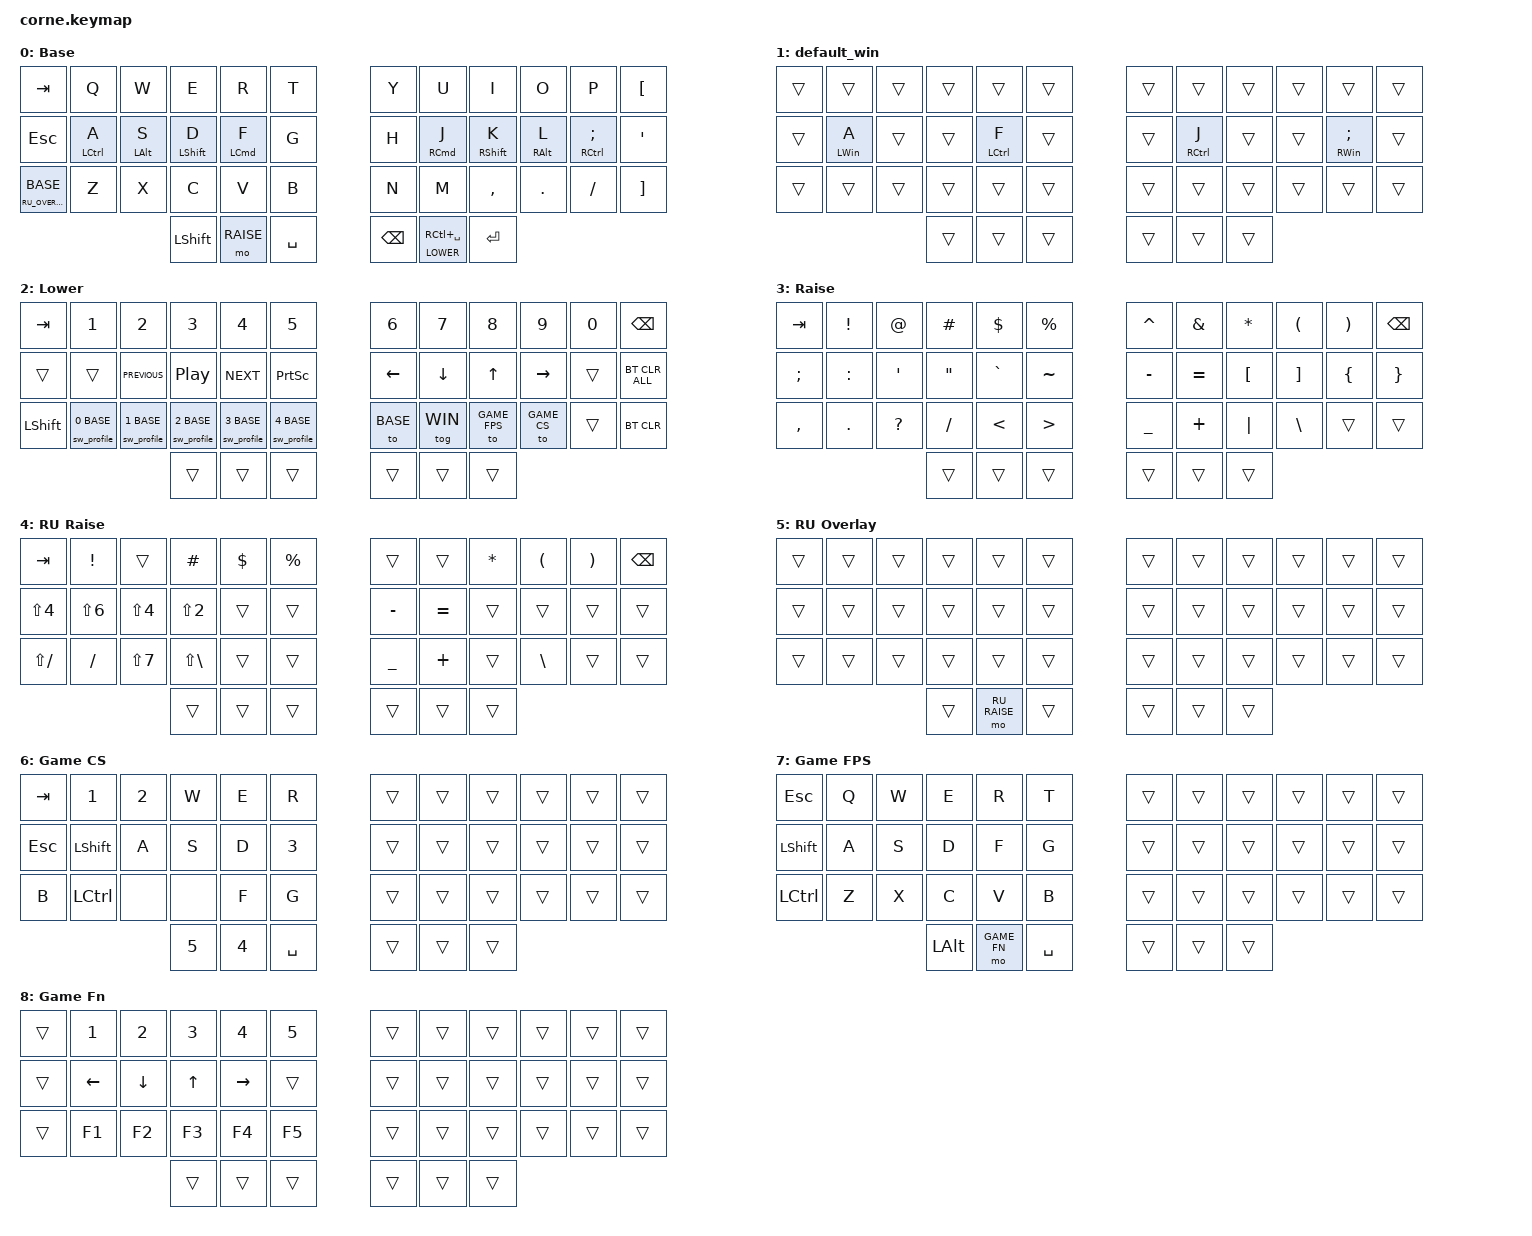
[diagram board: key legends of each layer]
/*
 * Copyright (c) 2020 The ZMK Contributors
 *
 * SPDX-License-Identifier: MIT
 */

#include <behaviors.dtsi>
#include <dt-bindings/zmk/bt.h>
#include <dt-bindings/zmk/keys.h>

#define BASE       0
#define WIN        1
#define LOWER      2
#define RAISE      3
#define RU_RAISE   4
#define RU_OVERLAY 5
#define GAME_CS    6
#define GAME_FPS   7
#define GAME_FN    8

/ {
    combos {
        compatible = "zmk,combos";

        game_exit {
            timeout-ms = <150>;
            key-positions = <36 37>;
            layers = <GAME_CS GAME_FPS GAME_FN>;
            bindings = <&to BASE>;
        };
    };

    behaviors {
        hml: hml {
            compatible = "zmk,behavior-hold-tap";
            bindings = <&kp>, <&kp>;

            #binding-cells = <2>;
            tapping-term-ms = <190>;
            require-prior-idle-ms = <155>;
            quick-tap-ms = <200>;
            flavor = "balanced";
            hold-trigger-key-positions = <30 31 32 33 34 35 6 7 8 9 10 11 18 19 20 21 22 23 39 40 41>;
            hold-trigger-on-release;
        };

        hmr: hmr {
            compatible = "zmk,behavior-hold-tap";
            bindings = <&kp>, <&kp>;

            #binding-cells = <2>;
            tapping-term-ms = <190>;
            require-prior-idle-ms = <155>;
            quick-tap-ms = <200>;
            flavor = "balanced";
            hold-trigger-key-positions = <0 1 2 3 4 5 12 13 14 15 16 17 24 25 26 27 28 29 36 37 38>;
            hold-trigger-on-release;
        };

        /* Language-switch key:
         * Tap  – executes the macro above (host layout change + overlay toggle);
         * Hold – only toggles the overlay layer (to resync if needed). */

        lang_sw: lang_sw {
            compatible = "zmk,behavior-hold-tap";
            #binding-cells = <2>;
            flavor = "hold-preferred";
            tapping-term-ms = <200>;
            bindings = <&tog>, <&lang_switch>;
        };

        toggle_on: toggle_on {
            compatible = "zmk,behavior-toggle-layer";
            #binding-cells = <1>;
        };
    };

    macros {
        lang_switch: lang_switch_win {
            compatible = "zmk,behavior-macro";
            #binding-cells = <0>;
            bindings = <&kp LA(LEFT_SHIFT) &tog RU_OVERLAY>;
        };

        sw_profile: sw_profile {
            compatible = "zmk,behavior-macro-two-param";
            #binding-cells = <2>;
            bindings =
                <&macro_param_1to2 &bt BT_SEL MACRO_PLACEHOLDER &macro_param_2to1 &to MACRO_PLACEHOLDER>,
                <&macro_press>;
        };

        // OV_TOG macro no longer required; hold action handles overlay toggle.
    };

    keymap {
        compatible = "zmk,keymap";

        default_layer {
            // -----------------------------------------------------------------------------------------
            // |  TAB |  Q  |  W  |  E  |  R  |  T  |   |  Y  |  U  |  I  |  O  |  P  | LBKT |
            // |  ESC |  A  |  S  |  D  |  F  |  G  |   |  H  |  J  |  K  |  L  |  ;  |  '   |
            // | SHFT |  Z  |  X  |  C  |  V  |  B  |   |  N  |  M  |  ,  |  .  |  /  | RBKT |
            //                     | GUI | LWR | SPC |   | BSPC | RSE | ENT |

            display-name = "Base";
            bindings = <
&kp TAB       &kp Q                &kp W            &kp E              &kp R                &kp T        &kp Y          &kp U                 &kp I               &kp O             &kp P                    &kp LBKT
&kp ESCAPE    &hml LEFT_CONTROL A  &hml LEFT_ALT S  &hml LEFT_SHIFT D  &hml LEFT_COMMAND F  &kp G        &kp H          &hmr RIGHT_COMMAND J  &hmr RIGHT_SHIFT K  &hmr RIGHT_ALT L  &hmr RIGHT_CONTROL SEMI  &kp SQT
&lang_sw RU_OVERLAY BASE  &kp Z                &kp X            &kp C              &kp V                &kp B        &kp N          &kp M                 &kp COMMA           &kp DOT           &kp FSLH                 &kp RBKT
                                                    &kp LSHFT          &mo RAISE                &kp SPACE    &kp BACKSPACE  &lt LOWER RC(SPACE)       &kp ENTER
            >;
        };

        default_win {
            bindings = <
&trans  &trans           &trans  &trans  &trans        &trans    &trans  &trans        &trans  &trans  &trans                    &trans
&trans  &hml LEFT_WIN A  &trans  &trans  &hml LCTRL F  &trans    &trans  &hmr RCTRL J  &trans  &trans  &hmr RIGHT_WIN SEMICOLON  &trans
&trans  &trans           &trans  &trans  &trans        &trans    &trans  &trans        &trans  &trans  &trans                    &trans
                                 &trans  &trans        &trans    &trans  &trans        &trans
            >;
        };

        lower_layer {
            // -----------------------------------------------------------------------------------------
            // |  TAB |  1  |  2    |  3   |  4   |  5   |   |  6   |  7   |  8   |  9   |  0   | BSPC  |
            // | TRNS | TRNS | PREV | PLAY | NEXT | PSCR |   | LFT  | DWN  |  UP  | RGT  | TRNS | TRNS  |
            // | SHFT | BT1  | BT2  | BT3  | BT4  | BT5  |   | BASE | WIN  | FPS  | CS   | TRNS | BTCLR |
            //                      | TRNS | TRNS | TRNS |   | TRNS | TRNS | TRNS |

            display-name = "Lower";
            bindings = <
&kp TAB    &kp N1           &kp N2           &kp N3            &kp N4           &kp N5             &kp N6    &kp N7    &kp N8  &kp N9     &kp N0  &kp BSPC
&trans     &trans           &kp C_PREVIOUS   &kp C_PLAY_PAUSE  &kp C_NEXT       &kp PRINTSCREEN    &kp LEFT  &kp DOWN  &kp UP  &kp RIGHT  &trans  &bt BT_CLR_ALL
&kp LSHFT  &sw_profile 0 BASE  &sw_profile 1 BASE  &sw_profile 2 BASE   &sw_profile 3 BASE  &sw_profile 4 BASE    &to BASE    &tog WIN    &to GAME_FPS  &to GAME_CS  &trans  &bt BT_CLR
                                             &trans            &trans           &trans             &trans    &trans    &trans
            >;
        };

        raise_layer {
            // -----------------------------------------------------------------------------------------
            // |  TAB |  !  |  @  |  #  |  $  |  %  |   |  ^  |  &  |  *  |  (  |  )  | BSPC |
            // |  ;   |  :  |  '  |  "  |  `  |  ~  |   |  -  |  =  |  [  |  ]  |  {  |  }   |
            // |  ,   |  .  |  ?  |  /  |  <  |  >  |   |  _  |  +  |  |  |  \\  | TRNS | TRNS |
            //                     | TRNS | TRNS | TRNS |   | TRNS | TRNS | TRNS |

            display-name = "Raise";
            bindings = <
&kp TAB    &kp EXCL   &kp AT        &kp HASH  &kp DLLR   &kp PRCNT    &kp CARET  &kp AMPS   &kp ASTERISK  &kp LPAR  &kp RPAR  &kp BSPC
&kp SEMI   &kp COLON  &kp SQT       &kp DQT   &kp GRAVE  &kp TILDE    &kp MINUS  &kp EQUAL  &kp LBKT      &kp RBKT  &kp LBRC  &kp RBRC
&kp COMMA  &kp DOT    &kp QUESTION  &kp FSLH  &kp LT     &kp GT       &kp UNDER  &kp PLUS   &kp PIPE      &kp BSLH  &trans    &trans
                                    &trans    &trans     &trans       &trans     &trans     &trans
            >;
        };

        ru_raise_layer {
            display-name = "RU Raise";
            bindings = <
&kp TAB        &kp EXCL    &trans      &kp HASH           &kp DOLLAR  &kp PERCENT    &trans     &trans     &kp ASTERISK  &kp LPAR  &kp RPAR  &kp BSPC
&kp LS(N4)     &kp LS(N6)  &kp LS(N4)  &kp LS(N2)         &trans      &trans         &kp MINUS  &kp EQUAL  &trans        &trans    &trans    &trans
&kp LS(SLASH)  &kp SLASH   &kp LS(N7)  &kp LS(BACKSLASH)  &trans      &trans         &kp UNDER  &kp PLUS   &trans        &kp BSLH  &trans    &trans
                                       &trans             &trans      &trans         &trans     &trans     &trans
            >;
        };

        ru_overlay_layer {
            display-name = "RU Overlay";
            bindings = <
&trans  &trans  &trans  &trans  &trans  &trans    &trans  &trans  &trans  &trans  &trans  &trans
&trans  &trans  &trans  &trans  &trans  &trans    &trans  &trans  &trans  &trans  &trans  &trans
&trans  &trans  &trans  &trans  &trans  &trans    &trans  &trans  &trans  &trans  &trans  &trans
                        &trans  &mo RU_RAISE   &trans    &trans  &trans  &trans
            >;
        };

        game_cs {
            display-name = "Game CS";
            bindings = <
&kp TAB     &kp N1            &kp N2  &kp W   &kp E   &kp R        &trans  &trans  &trans  &trans  &trans  &trans
&kp ESCAPE  &kp LEFT_SHIFT    &kp A   &kp S   &kp D   &kp N3       &trans  &trans  &trans  &trans  &trans  &trans
&kp B       &kp LEFT_CONTROL  &none   &none   &kp F   &kp G        &trans  &trans  &trans  &trans  &trans  &trans
                                      &kp N5  &kp N4  &kp SPACE    &trans  &trans  &trans
            >;
        };

        game_fps {
            display-name = "Game FPS";
            bindings = <
&kp ESC     &kp Q  &kp W  &kp E     &kp R  &kp T        &trans  &trans  &trans  &trans  &trans  &trans
&kp LSHIFT  &kp A  &kp S  &kp D     &kp F  &kp G        &trans  &trans  &trans  &trans  &trans  &trans
&kp LCTRL   &kp Z  &kp X  &kp C     &kp V  &kp B        &trans  &trans  &trans  &trans  &trans  &trans
                          &kp LALT  &mo GAME_FN  &kp SPACE    &trans  &trans  &trans
            >;
        };

        game_fn {
            display-name = "Game Fn";
            bindings = <
&trans  &kp NUMBER_1  &kp NUMBER_2  &kp NUMBER_3  &kp NUMBER_4  &kp N5    &trans  &trans  &trans  &trans  &trans  &trans
&trans  &kp LEFT      &kp DOWN      &kp UP        &kp RIGHT     &trans    &trans  &trans  &trans  &trans  &trans  &trans
&trans  &kp F1        &kp F2        &kp F3        &kp F4        &kp F5    &trans  &trans  &trans  &trans  &trans  &trans
                                    &trans        &trans        &trans    &trans  &trans  &trans
            >;
        };
    };
};
